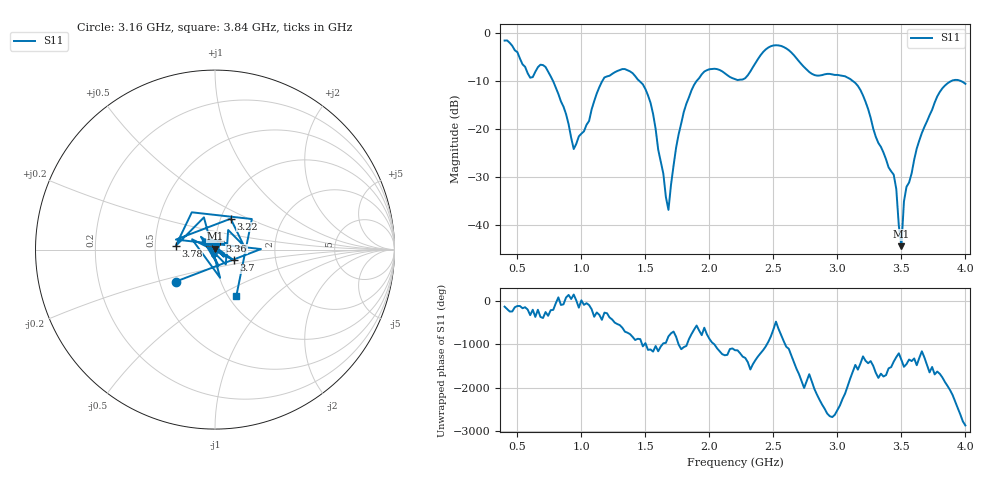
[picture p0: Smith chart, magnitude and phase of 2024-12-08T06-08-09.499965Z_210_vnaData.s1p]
!Created with skrf (http://scikit-rf.org).
# Hz S RI R 50.0
!freq ReS11 ImS11
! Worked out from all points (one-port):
!   181 points, 400 MHz to 4 GHz, reference 50 ohm
!   lowest |S11| = -44.3 dB at 3.5 GHz (marker M1), VSWR 1.01, Z = 50 + j0.608 ohm
!   |S11| at or under -10 dB: 779.5 MHz to 1.162 GHz (382.9 MHz wide, 39.4 % of centre); 1.455 GHz to 1.899 GHz (443.6 MHz wide, 26.4 % of centre); 3.123 GHz to 3.887 GHz (763.6 MHz wide, 21.8 % of centre) (the widest 3 of 4)
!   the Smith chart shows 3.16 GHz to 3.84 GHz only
!   S11 on the Smith chart (normalised r, x): 3.16 GHz: 0.61, -0.24; 3.22 GHz: 1.12, +0.40; 3.36 GHz: 1.05, +0.11; 3.7 GHz: 1.23, -0.15; 3.78 GHz: 0.64, +0.03; 3.84 GHz: 1.09, -0.61
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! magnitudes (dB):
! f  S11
! 400 MHz  -1.5
! 600 MHz  -9.3
! 720 MHz  -7.0
! 860 MHz  -15.3
! 940 MHz  -24.1
! 1.16 GHz  -10.1
! 1.3 GHz  -7.7
! 1.52 GHz  -12.9
! 1.68 GHz  -36.8
! 1.76 GHz  -21.0
! 1.86 GHz  -11.9
! 1.96 GHz  -8.0
! 2.2 GHz  -9.6
! 2.48 GHz  -2.7
! 2.66 GHz  -4.6
! 2.82 GHz  -8.7
! 3.1 GHz  -9.5
! 3.16 GHz  -11.0
! 3.22 GHz  -14.3
! 3.36 GHz  -24.8
! 3.44 GHz  -29.4
! 3.5 GHz  -44.3
! 3.52 GHz  -35.0
! 3.56 GHz  -31.1
! 3.7 GHz  -18.3
! 3.78 GHz  -13.2
! 3.84 GHz  -10.9
! 4 GHz  -10.5
